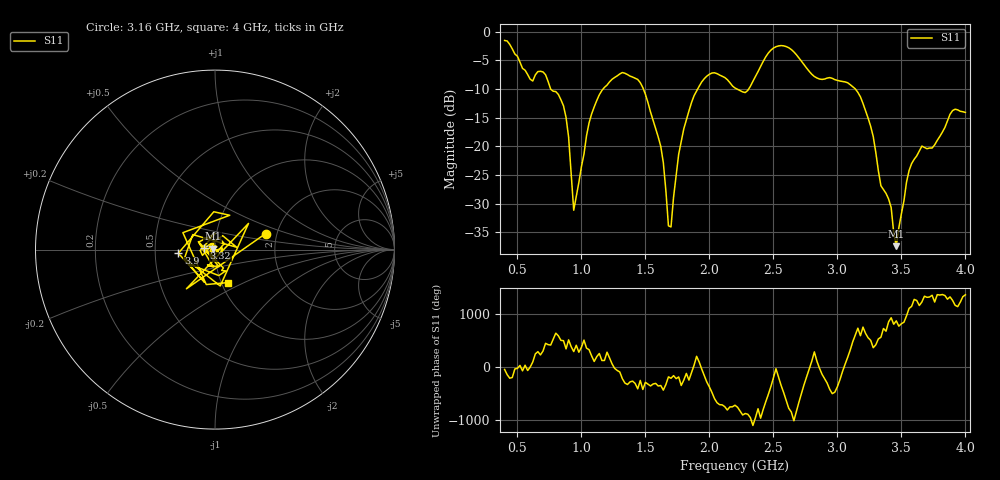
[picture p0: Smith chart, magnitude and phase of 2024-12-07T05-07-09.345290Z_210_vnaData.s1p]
!Created with skrf (http://scikit-rf.org).
# Hz S RI R 50.0
!freq ReS11 ImS11
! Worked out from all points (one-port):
!   181 points, 400 MHz to 4 GHz, reference 50 ohm
!   lowest |S11| = -37.4 dB at 3.46 GHz (marker M1), VSWR 1.03, Z = 48.8 + j0.517 ohm
!   |S11| at or under -10 dB: 759.6 MHz to 1.169 GHz (409.5 MHz wide, 42.5 % of centre); 1.484 GHz to 1.908 GHz (423.8 MHz wide, 25 % of centre); 3.141 GHz to end of sweep (the widest 3 of 4)
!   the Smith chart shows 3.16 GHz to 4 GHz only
!   S11 on the Smith chart (normalised r, x): 3.16 GHz: 1.74, +0.34; 3.32 GHz: 0.89, +0.01; 3.9 GHz: 0.66, -0.03; 4 GHz: 1.08, -0.41
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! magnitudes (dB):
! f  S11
! 400 MHz  -1.5
! 720 MHz  -7.5
! 860 MHz  -12.9
! 900 MHz  -18.4
! 940 MHz  -31.2
! 1.08 GHz  -14.3
! 1.3 GHz  -7.4
! 1.5 GHz  -10.9
! 1.62 GHz  -20.0
! 1.68 GHz  -33.9
! 1.7 GHz  -34.1
! 1.76 GHz  -21.4
! 1.86 GHz  -12.4
! 1.96 GHz  -8.2
! 2.2 GHz  -9.8
! 2.3 GHz  -10.2
! 2.5 GHz  -2.8
! 2.66 GHz  -3.5
! 2.82 GHz  -7.8
! 3.1 GHz  -9.2
! 3.16 GHz  -10.6
! 3.26 GHz  -16.5
! 3.32 GHz  -24.3
! 3.42 GHz  -30.7
! 3.46 GHz  -37.4
! 3.56 GHz  -24.2
! 3.9 GHz  -13.8
! 4 GHz  -14.1
